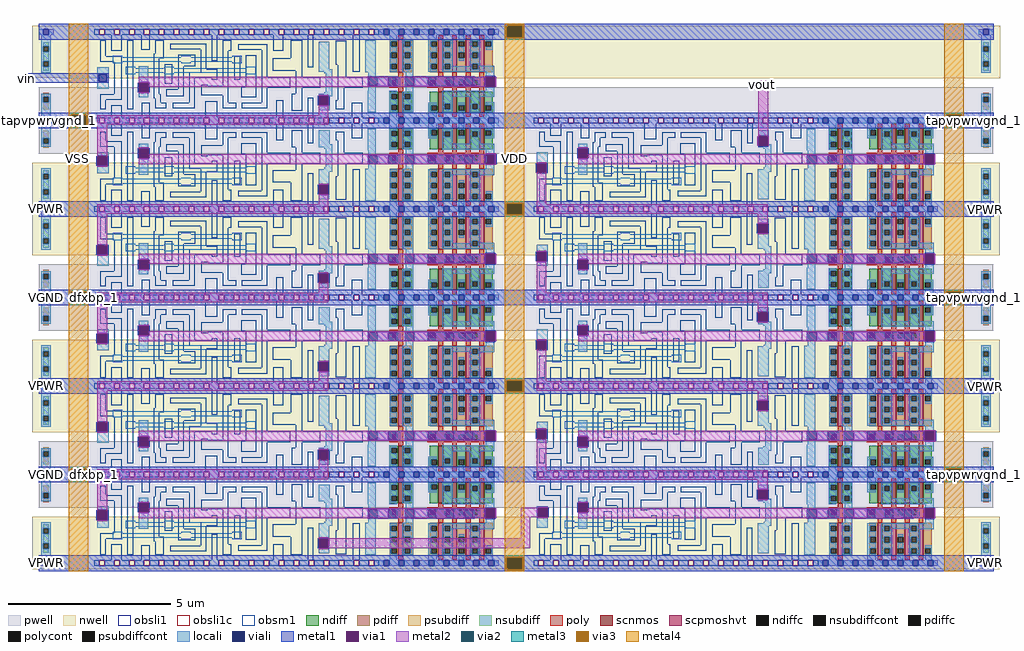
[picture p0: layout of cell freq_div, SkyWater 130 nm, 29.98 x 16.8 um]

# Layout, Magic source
magic
tech sky130A
magscale 1 2
<< nwell >>
rect -2454 122 3321 444
rect -2622 -634 3320 -398
rect -2622 -730 -2260 -634
rect -2242 -730 3320 -634
rect -2622 -966 3320 -730
rect -2622 -2054 3320 -1486
rect -2622 -2896 3320 -2574
<< pwell >>
rect -2582 -342 3280 66
rect -2582 -1430 3280 -1022
rect -2582 -2518 3280 -2110
<< locali >>
rect -2584 -155 -2555 -121
rect -2521 -155 -2492 -121
rect 3190 -155 3219 -121
rect 3253 -155 3282 -121
rect -2567 -198 -2509 -155
rect 3207 -198 3265 -155
rect -2567 -665 -2509 -622
rect 3207 -665 3265 -622
rect -2584 -699 -2555 -665
rect -2521 -699 -2492 -665
rect 3190 -699 3219 -665
rect 3253 -699 3282 -665
rect -2567 -742 -2509 -699
rect 3207 -742 3265 -699
rect -2567 -1209 -2509 -1166
rect 3207 -1209 3265 -1166
rect -2584 -1243 -2555 -1209
rect -2521 -1243 -2492 -1209
rect 3190 -1243 3219 -1209
rect 3253 -1243 3282 -1209
rect -2567 -1286 -2509 -1243
rect 3207 -1286 3265 -1243
rect -2567 -1753 -2509 -1710
rect 3207 -1753 3265 -1710
rect -2584 -1787 -2555 -1753
rect -2521 -1787 -2492 -1753
rect 3190 -1787 3219 -1753
rect 3253 -1787 3282 -1753
rect -2567 -1830 -2509 -1787
rect 3207 -1830 3265 -1787
rect -2567 -2297 -2509 -2254
rect 3207 -2297 3265 -2254
rect -2584 -2331 -2555 -2297
rect -2521 -2331 -2492 -2297
rect 3190 -2331 3219 -2297
rect 3253 -2331 3282 -2297
rect -2567 -2374 -2509 -2331
rect 3207 -2374 3265 -2331
rect -2567 -2841 -2509 -2798
rect 3207 -2841 3265 -2798
rect -2584 -2875 -2555 -2841
rect -2521 -2875 -2492 -2841
rect 3190 -2875 3219 -2841
rect 3253 -2875 3282 -2841
<< viali >>
rect -2214 98 -2166 146
rect -1962 40 -1914 88
rect -552 78 -504 126
rect -436 78 -388 126
rect -324 78 -276 126
rect -192 78 -144 126
rect -82 78 -34 126
rect 34 78 82 126
rect 166 76 214 124
rect -858 -40 -810 8
rect -2555 -155 -2521 -121
rect 3219 -155 3253 -121
rect 1842 -288 1890 -240
rect -1962 -364 -1914 -316
rect -2218 -412 -2170 -364
rect -552 -402 -504 -354
rect -436 -402 -388 -354
rect -324 -402 -276 -354
rect -192 -402 -144 -354
rect -82 -402 -34 -354
rect 34 -402 82 -354
rect 170 -400 218 -352
rect 736 -364 784 -316
rect 2146 -402 2194 -354
rect 2262 -402 2310 -354
rect 2374 -402 2422 -354
rect 2506 -402 2554 -354
rect 2616 -402 2664 -354
rect 2732 -402 2780 -354
rect 2864 -400 2912 -352
rect 480 -454 528 -406
rect -858 -586 -810 -538
rect -2555 -699 -2521 -665
rect 3219 -699 3253 -665
rect 1840 -826 1888 -778
rect -2218 -958 -2170 -910
rect -1962 -1048 -1914 -1000
rect -552 -1010 -504 -962
rect -436 -1010 -388 -962
rect -324 -1010 -276 -962
rect -192 -1010 -144 -962
rect -82 -1010 -34 -962
rect 34 -1010 82 -962
rect 166 -1012 218 -964
rect 480 -998 528 -950
rect 736 -1048 784 -1000
rect 2146 -1010 2194 -962
rect 2262 -1010 2310 -962
rect 2374 -1010 2422 -962
rect 2506 -1010 2554 -962
rect 2616 -1010 2664 -962
rect 2732 -1010 2780 -962
rect 2864 -1012 2912 -964
rect -858 -1130 -810 -1082
rect -2555 -1243 -2521 -1209
rect 3219 -1243 3253 -1209
rect 1840 -1370 1888 -1322
rect -1962 -1452 -1914 -1404
rect -2218 -1502 -2170 -1454
rect -552 -1490 -504 -1442
rect -436 -1490 -388 -1442
rect -324 -1490 -276 -1442
rect -192 -1490 -144 -1442
rect -82 -1490 -34 -1442
rect 34 -1490 82 -1442
rect 166 -1488 214 -1440
rect 736 -1452 784 -1404
rect 2146 -1490 2194 -1442
rect 2262 -1490 2310 -1442
rect 2374 -1490 2422 -1442
rect 2506 -1490 2554 -1442
rect 2616 -1490 2664 -1442
rect 2732 -1490 2780 -1442
rect 2864 -1488 2916 -1440
rect 480 -1542 528 -1494
rect -858 -1674 -810 -1626
rect -2555 -1787 -2521 -1753
rect 3219 -1787 3253 -1753
rect 1840 -1914 1888 -1866
rect -2218 -2046 -2170 -1998
rect -1962 -2136 -1914 -2088
rect -552 -2098 -504 -2050
rect -436 -2098 -388 -2050
rect -324 -2098 -276 -2050
rect -192 -2098 -144 -2050
rect -82 -2098 -34 -2050
rect 34 -2098 82 -2050
rect 166 -2100 214 -2052
rect 480 -2088 528 -2040
rect 736 -2136 784 -2088
rect 2146 -2098 2194 -2050
rect 2262 -2098 2310 -2050
rect 2374 -2098 2422 -2050
rect 2506 -2098 2554 -2050
rect 2616 -2098 2664 -2050
rect 2732 -2098 2780 -2050
rect 2868 -2100 2916 -2052
rect -858 -2216 -810 -2168
rect -2555 -2331 -2521 -2297
rect 3219 -2331 3253 -2297
rect 1840 -2460 1888 -2412
rect -1962 -2540 -1914 -2492
rect -2218 -2588 -2170 -2540
rect -552 -2578 -504 -2530
rect -436 -2578 -388 -2530
rect -324 -2578 -276 -2530
rect -192 -2578 -144 -2530
rect -82 -2578 -34 -2530
rect 34 -2578 82 -2530
rect 166 -2576 218 -2528
rect 488 -2570 536 -2522
rect 736 -2540 784 -2492
rect 2146 -2578 2194 -2530
rect 2262 -2578 2310 -2530
rect 2374 -2578 2422 -2530
rect 2506 -2578 2554 -2530
rect 2616 -2578 2664 -2530
rect 2732 -2578 2780 -2530
rect 2864 -2576 2912 -2528
rect -858 -2760 -810 -2712
rect -2555 -2875 -2521 -2841
rect 3219 -2875 3253 -2841
<< metal1 >>
rect -2492 358 -2242 454
rect 242 442 3190 454
rect 242 370 292 442
rect 388 370 3190 442
rect 242 358 3190 370
rect -2674 146 -2154 152
rect -2674 98 -2214 146
rect -2166 98 -2154 146
rect -564 126 -376 132
rect -2674 92 -2154 98
rect -1968 94 -1908 100
rect -1974 34 -1968 94
rect -1908 34 -1902 94
rect -564 78 -552 126
rect -504 78 -436 126
rect -388 78 -376 126
rect -564 72 -376 78
rect -336 126 94 132
rect 160 130 220 136
rect -336 78 -324 126
rect -276 78 -192 126
rect -144 78 -82 126
rect -34 78 34 126
rect 82 78 94 126
rect -336 72 94 78
rect 154 70 160 130
rect 220 70 226 130
rect 160 64 220 70
rect -1968 28 -1908 34
rect -864 14 -804 20
rect -870 -46 -864 14
rect -804 -46 -798 14
rect -864 -52 -804 -46
rect -2584 -102 -2242 -90
rect -2584 -121 -2388 -102
rect -2584 -155 -2555 -121
rect -2521 -155 -2388 -121
rect -2584 -174 -2388 -155
rect -2292 -174 -2242 -102
rect -2584 -186 -2242 -174
rect 242 -186 456 -90
rect 2938 -102 3282 -90
rect 2938 -174 2990 -102
rect 3086 -121 3282 -102
rect 3086 -155 3219 -121
rect 3253 -155 3282 -121
rect 3086 -174 3282 -155
rect 2938 -186 3282 -174
rect 1836 -234 1896 -228
rect 1830 -294 1836 -234
rect 1896 -294 1902 -234
rect 1836 -300 1896 -294
rect -1968 -310 -1908 -304
rect 730 -310 790 -304
rect -2224 -358 -2164 -352
rect -2230 -418 -2224 -358
rect -2164 -418 -2158 -358
rect -1974 -370 -1968 -310
rect -1908 -370 -1902 -310
rect -564 -354 -376 -348
rect -1968 -376 -1908 -370
rect -564 -402 -552 -354
rect -504 -402 -436 -354
rect -388 -402 -376 -354
rect -564 -408 -376 -402
rect -336 -354 94 -348
rect -336 -402 -324 -354
rect -276 -402 -192 -354
rect -144 -402 -82 -354
rect -34 -402 34 -354
rect 82 -402 94 -354
rect -336 -408 94 -402
rect 152 -406 158 -346
rect 218 -406 230 -346
rect 724 -370 730 -310
rect 790 -370 796 -310
rect 2858 -346 2918 -340
rect 2134 -354 2322 -348
rect 730 -376 790 -370
rect 474 -400 534 -394
rect -2224 -424 -2164 -418
rect 468 -460 474 -400
rect 534 -460 540 -400
rect 2134 -402 2146 -354
rect 2194 -402 2262 -354
rect 2310 -402 2322 -354
rect 2134 -408 2322 -402
rect 2362 -354 2792 -348
rect 2362 -402 2374 -354
rect 2422 -402 2506 -354
rect 2554 -402 2616 -354
rect 2664 -402 2732 -354
rect 2780 -402 2792 -354
rect 2362 -408 2792 -402
rect 2852 -406 2858 -346
rect 2918 -406 2924 -346
rect 2858 -412 2918 -406
rect 474 -466 534 -460
rect -864 -532 -804 -526
rect -870 -592 -864 -532
rect -804 -592 -798 -532
rect -864 -598 -804 -592
rect -2584 -665 -2242 -634
rect -2584 -699 -2555 -665
rect -2521 -699 -2242 -665
rect -2584 -730 -2242 -699
rect 242 -646 456 -634
rect 242 -718 292 -646
rect 388 -718 456 -646
rect 242 -730 456 -718
rect 2936 -665 3282 -634
rect 2936 -699 3219 -665
rect 3253 -699 3282 -665
rect 2936 -730 3282 -699
rect 1834 -772 1894 -766
rect 1828 -832 1834 -772
rect 1894 -832 1900 -772
rect 1834 -838 1894 -832
rect -2224 -904 -2164 -898
rect -2230 -964 -2224 -904
rect -2164 -964 -2158 -904
rect 474 -944 534 -938
rect -564 -962 -376 -956
rect -2224 -970 -2164 -964
rect -1968 -994 -1908 -988
rect -1974 -1054 -1968 -994
rect -1908 -1054 -1902 -994
rect -564 -1010 -552 -962
rect -504 -1010 -436 -962
rect -388 -1010 -376 -962
rect -564 -1016 -376 -1010
rect -336 -962 94 -956
rect 160 -958 220 -952
rect -336 -1010 -324 -962
rect -276 -1010 -192 -962
rect -144 -1010 -82 -962
rect -34 -1010 34 -962
rect 82 -1010 94 -962
rect -336 -1016 94 -1010
rect 154 -1018 160 -958
rect 220 -1018 226 -958
rect 468 -1004 474 -944
rect 534 -1004 540 -944
rect 2134 -962 2322 -956
rect 730 -994 790 -988
rect 474 -1010 534 -1004
rect 160 -1024 220 -1018
rect 724 -1054 730 -994
rect 790 -1054 796 -994
rect 2134 -1010 2146 -962
rect 2194 -1010 2262 -962
rect 2310 -1010 2322 -962
rect 2134 -1016 2322 -1010
rect 2362 -962 2792 -956
rect 2858 -958 2918 -952
rect 2362 -1010 2374 -962
rect 2422 -1010 2506 -962
rect 2554 -1010 2616 -962
rect 2664 -1010 2732 -962
rect 2780 -1010 2792 -962
rect 2362 -1016 2792 -1010
rect 2852 -1018 2858 -958
rect 2918 -1018 2924 -958
rect 2858 -1024 2918 -1018
rect -1968 -1060 -1908 -1054
rect 730 -1060 790 -1054
rect -864 -1076 -804 -1070
rect -870 -1136 -864 -1076
rect -804 -1136 -798 -1076
rect -864 -1142 -804 -1136
rect -2584 -1190 -2224 -1178
rect -2584 -1209 -2388 -1190
rect -2584 -1243 -2555 -1209
rect -2521 -1243 -2388 -1209
rect -2584 -1262 -2388 -1243
rect -2292 -1262 -2224 -1190
rect -2584 -1274 -2224 -1262
rect 242 -1274 456 -1178
rect 2938 -1190 3282 -1178
rect 2938 -1262 2990 -1190
rect 3086 -1209 3282 -1190
rect 3086 -1243 3219 -1209
rect 3253 -1243 3282 -1209
rect 3086 -1262 3282 -1243
rect 2938 -1274 3282 -1262
rect 1834 -1316 1894 -1310
rect 1828 -1376 1834 -1316
rect 1894 -1376 1900 -1316
rect 1834 -1382 1894 -1376
rect -1968 -1398 -1908 -1392
rect 730 -1398 790 -1392
rect -2224 -1448 -2164 -1442
rect -2230 -1508 -2224 -1448
rect -2164 -1508 -2158 -1448
rect -1974 -1458 -1968 -1398
rect -1908 -1458 -1902 -1398
rect 160 -1434 220 -1428
rect -564 -1442 -376 -1436
rect -1968 -1464 -1908 -1458
rect -564 -1490 -552 -1442
rect -504 -1490 -436 -1442
rect -388 -1490 -376 -1442
rect -564 -1496 -376 -1490
rect -336 -1442 94 -1436
rect -336 -1490 -324 -1442
rect -276 -1490 -192 -1442
rect -144 -1490 -82 -1442
rect -34 -1490 34 -1442
rect 82 -1490 94 -1442
rect -336 -1496 94 -1490
rect 154 -1494 160 -1434
rect 220 -1494 226 -1434
rect 724 -1458 730 -1398
rect 790 -1458 796 -1398
rect 2858 -1434 2918 -1428
rect 2134 -1442 2322 -1436
rect 730 -1464 790 -1458
rect 474 -1488 534 -1482
rect 160 -1500 220 -1494
rect -2224 -1514 -2164 -1508
rect 468 -1548 474 -1488
rect 534 -1548 540 -1488
rect 2134 -1490 2146 -1442
rect 2194 -1490 2262 -1442
rect 2310 -1490 2322 -1442
rect 2134 -1496 2322 -1490
rect 2362 -1442 2792 -1436
rect 2362 -1490 2374 -1442
rect 2422 -1490 2506 -1442
rect 2554 -1490 2616 -1442
rect 2664 -1490 2732 -1442
rect 2780 -1490 2792 -1442
rect 2362 -1496 2792 -1490
rect 2852 -1494 2858 -1434
rect 2918 -1494 2924 -1434
rect 2858 -1500 2918 -1494
rect 474 -1554 534 -1548
rect -864 -1620 -804 -1614
rect -870 -1680 -864 -1620
rect -804 -1680 -798 -1620
rect -864 -1686 -804 -1680
rect -2584 -1753 -2242 -1722
rect -2584 -1787 -2555 -1753
rect -2521 -1787 -2242 -1753
rect -2584 -1818 -2242 -1787
rect 242 -1734 456 -1722
rect 242 -1806 292 -1734
rect 388 -1806 456 -1734
rect 242 -1818 456 -1806
rect 2936 -1753 3282 -1722
rect 2936 -1787 3219 -1753
rect 3253 -1787 3282 -1753
rect 2936 -1818 3282 -1787
rect 1834 -1860 1894 -1854
rect 1828 -1920 1834 -1860
rect 1894 -1920 1900 -1860
rect 1834 -1926 1894 -1920
rect -2224 -1992 -2164 -1986
rect -2230 -2052 -2224 -1992
rect -2164 -2052 -2158 -1992
rect 474 -2034 534 -2028
rect -564 -2050 -376 -2044
rect -2224 -2058 -2164 -2052
rect -1968 -2082 -1908 -2076
rect -1974 -2142 -1968 -2082
rect -1908 -2142 -1902 -2082
rect -564 -2098 -552 -2050
rect -504 -2098 -436 -2050
rect -388 -2098 -376 -2050
rect -564 -2104 -376 -2098
rect -336 -2050 94 -2044
rect 160 -2046 220 -2040
rect -336 -2098 -324 -2050
rect -276 -2098 -192 -2050
rect -144 -2098 -82 -2050
rect -34 -2098 34 -2050
rect 82 -2098 94 -2050
rect -336 -2104 94 -2098
rect 154 -2106 160 -2046
rect 220 -2106 226 -2046
rect 468 -2094 474 -2034
rect 534 -2094 540 -2034
rect 2134 -2050 2322 -2044
rect 730 -2082 790 -2076
rect 474 -2100 534 -2094
rect 160 -2112 220 -2106
rect 724 -2142 730 -2082
rect 790 -2142 796 -2082
rect 2134 -2098 2146 -2050
rect 2194 -2098 2262 -2050
rect 2310 -2098 2322 -2050
rect 2134 -2104 2322 -2098
rect 2362 -2050 2792 -2044
rect 2362 -2098 2374 -2050
rect 2422 -2098 2506 -2050
rect 2554 -2098 2616 -2050
rect 2664 -2098 2732 -2050
rect 2780 -2098 2792 -2050
rect 2362 -2104 2792 -2098
rect 2850 -2106 2856 -2046
rect 2916 -2106 2928 -2046
rect -1968 -2148 -1908 -2142
rect 730 -2148 790 -2142
rect -864 -2162 -804 -2156
rect -870 -2222 -864 -2162
rect -804 -2222 -798 -2162
rect -864 -2228 -804 -2222
rect -2584 -2278 -2224 -2266
rect -2584 -2297 -2388 -2278
rect -2584 -2331 -2555 -2297
rect -2521 -2331 -2388 -2297
rect -2584 -2350 -2388 -2331
rect -2292 -2350 -2224 -2278
rect -2584 -2362 -2224 -2350
rect 242 -2362 456 -2266
rect 2936 -2278 3282 -2266
rect 2936 -2350 2990 -2278
rect 3086 -2297 3282 -2278
rect 3086 -2331 3219 -2297
rect 3253 -2331 3282 -2297
rect 3086 -2350 3282 -2331
rect 2936 -2362 3282 -2350
rect 1834 -2406 1894 -2400
rect 1828 -2466 1834 -2406
rect 1894 -2466 1900 -2406
rect 1834 -2472 1894 -2466
rect -1968 -2486 -1908 -2480
rect 730 -2486 790 -2480
rect -2224 -2534 -2164 -2528
rect -2230 -2594 -2224 -2534
rect -2164 -2594 -2158 -2534
rect -1974 -2546 -1968 -2486
rect -1908 -2546 -1902 -2486
rect 482 -2516 542 -2510
rect 160 -2522 220 -2516
rect -564 -2530 -376 -2524
rect -1968 -2552 -1908 -2546
rect -564 -2578 -552 -2530
rect -504 -2578 -436 -2530
rect -388 -2578 -376 -2530
rect -564 -2584 -376 -2578
rect -336 -2530 94 -2524
rect -336 -2578 -324 -2530
rect -276 -2578 -192 -2530
rect -144 -2578 -82 -2530
rect -34 -2578 34 -2530
rect 82 -2578 94 -2530
rect -336 -2584 94 -2578
rect 154 -2582 160 -2522
rect 220 -2582 226 -2522
rect 476 -2576 482 -2516
rect 542 -2576 548 -2516
rect 724 -2546 730 -2486
rect 790 -2546 796 -2486
rect 2858 -2522 2918 -2516
rect 2134 -2530 2322 -2524
rect 730 -2552 790 -2546
rect 482 -2582 542 -2576
rect 2134 -2578 2146 -2530
rect 2194 -2578 2262 -2530
rect 2310 -2578 2322 -2530
rect 160 -2588 220 -2582
rect 2134 -2584 2322 -2578
rect 2362 -2530 2792 -2524
rect 2362 -2578 2374 -2530
rect 2422 -2578 2506 -2530
rect 2554 -2578 2616 -2530
rect 2664 -2578 2732 -2530
rect 2780 -2578 2792 -2530
rect 2362 -2584 2792 -2578
rect 2852 -2582 2858 -2522
rect 2918 -2582 2924 -2522
rect 2858 -2588 2918 -2582
rect -2224 -2600 -2164 -2594
rect -864 -2706 -804 -2700
rect -870 -2766 -864 -2706
rect -804 -2766 -798 -2706
rect -864 -2772 -804 -2766
rect -2584 -2841 -2242 -2810
rect -2584 -2875 -2555 -2841
rect -2521 -2875 -2242 -2841
rect -2584 -2906 -2242 -2875
rect 242 -2822 456 -2810
rect 242 -2894 292 -2822
rect 388 -2894 456 -2822
rect 242 -2906 456 -2894
rect 2936 -2841 3282 -2810
rect 2936 -2875 3219 -2841
rect 3253 -2875 3282 -2841
rect 2936 -2906 3282 -2875
<< via1 >>
rect 292 370 388 442
rect -1968 88 -1908 94
rect -1968 40 -1962 88
rect -1962 40 -1914 88
rect -1914 40 -1908 88
rect -1968 34 -1908 40
rect 160 124 220 130
rect 160 76 166 124
rect 166 76 214 124
rect 214 76 220 124
rect 160 70 220 76
rect -864 8 -804 14
rect -864 -40 -858 8
rect -858 -40 -810 8
rect -810 -40 -804 8
rect -864 -46 -804 -40
rect -2388 -174 -2292 -102
rect 2990 -174 3086 -102
rect 1836 -240 1896 -234
rect 1836 -288 1842 -240
rect 1842 -288 1890 -240
rect 1890 -288 1896 -240
rect 1836 -294 1896 -288
rect -2224 -364 -2164 -358
rect -2224 -412 -2218 -364
rect -2218 -412 -2170 -364
rect -2170 -412 -2164 -364
rect -2224 -418 -2164 -412
rect -1968 -316 -1908 -310
rect -1968 -364 -1962 -316
rect -1962 -364 -1914 -316
rect -1914 -364 -1908 -316
rect -1968 -370 -1908 -364
rect 158 -352 218 -346
rect 158 -400 170 -352
rect 170 -400 218 -352
rect 158 -406 218 -400
rect 730 -316 790 -310
rect 730 -364 736 -316
rect 736 -364 784 -316
rect 784 -364 790 -316
rect 730 -370 790 -364
rect 474 -406 534 -400
rect 474 -454 480 -406
rect 480 -454 528 -406
rect 528 -454 534 -406
rect 474 -460 534 -454
rect 2858 -352 2918 -346
rect 2858 -400 2864 -352
rect 2864 -400 2912 -352
rect 2912 -400 2918 -352
rect 2858 -406 2918 -400
rect -864 -538 -804 -532
rect -864 -586 -858 -538
rect -858 -586 -810 -538
rect -810 -586 -804 -538
rect -864 -592 -804 -586
rect 292 -718 388 -646
rect 1834 -778 1894 -772
rect 1834 -826 1840 -778
rect 1840 -826 1888 -778
rect 1888 -826 1894 -778
rect 1834 -832 1894 -826
rect -2224 -910 -2164 -904
rect -2224 -958 -2218 -910
rect -2218 -958 -2170 -910
rect -2170 -958 -2164 -910
rect -2224 -964 -2164 -958
rect -1968 -1000 -1908 -994
rect -1968 -1048 -1962 -1000
rect -1962 -1048 -1914 -1000
rect -1914 -1048 -1908 -1000
rect -1968 -1054 -1908 -1048
rect 160 -964 220 -958
rect 160 -1012 166 -964
rect 166 -1012 218 -964
rect 218 -1012 220 -964
rect 160 -1018 220 -1012
rect 474 -950 534 -944
rect 474 -998 480 -950
rect 480 -998 528 -950
rect 528 -998 534 -950
rect 474 -1004 534 -998
rect 730 -1000 790 -994
rect 730 -1048 736 -1000
rect 736 -1048 784 -1000
rect 784 -1048 790 -1000
rect 730 -1054 790 -1048
rect 2858 -964 2918 -958
rect 2858 -1012 2864 -964
rect 2864 -1012 2912 -964
rect 2912 -1012 2918 -964
rect 2858 -1018 2918 -1012
rect -864 -1082 -804 -1076
rect -864 -1130 -858 -1082
rect -858 -1130 -810 -1082
rect -810 -1130 -804 -1082
rect -864 -1136 -804 -1130
rect -2388 -1262 -2292 -1190
rect 2990 -1262 3086 -1190
rect 1834 -1322 1894 -1316
rect 1834 -1370 1840 -1322
rect 1840 -1370 1888 -1322
rect 1888 -1370 1894 -1322
rect 1834 -1376 1894 -1370
rect -2224 -1454 -2164 -1448
rect -2224 -1502 -2218 -1454
rect -2218 -1502 -2170 -1454
rect -2170 -1502 -2164 -1454
rect -2224 -1508 -2164 -1502
rect -1968 -1404 -1908 -1398
rect -1968 -1452 -1962 -1404
rect -1962 -1452 -1914 -1404
rect -1914 -1452 -1908 -1404
rect -1968 -1458 -1908 -1452
rect 160 -1440 220 -1434
rect 160 -1488 166 -1440
rect 166 -1488 214 -1440
rect 214 -1488 220 -1440
rect 160 -1494 220 -1488
rect 730 -1404 790 -1398
rect 730 -1452 736 -1404
rect 736 -1452 784 -1404
rect 784 -1452 790 -1404
rect 730 -1458 790 -1452
rect 474 -1494 534 -1488
rect 474 -1542 480 -1494
rect 480 -1542 528 -1494
rect 528 -1542 534 -1494
rect 474 -1548 534 -1542
rect 2858 -1440 2918 -1434
rect 2858 -1488 2864 -1440
rect 2864 -1488 2916 -1440
rect 2916 -1488 2918 -1440
rect 2858 -1494 2918 -1488
rect -864 -1626 -804 -1620
rect -864 -1674 -858 -1626
rect -858 -1674 -810 -1626
rect -810 -1674 -804 -1626
rect -864 -1680 -804 -1674
rect 292 -1806 388 -1734
rect 1834 -1866 1894 -1860
rect 1834 -1914 1840 -1866
rect 1840 -1914 1888 -1866
rect 1888 -1914 1894 -1866
rect 1834 -1920 1894 -1914
rect -2224 -1998 -2164 -1992
rect -2224 -2046 -2218 -1998
rect -2218 -2046 -2170 -1998
rect -2170 -2046 -2164 -1998
rect -2224 -2052 -2164 -2046
rect -1968 -2088 -1908 -2082
rect -1968 -2136 -1962 -2088
rect -1962 -2136 -1914 -2088
rect -1914 -2136 -1908 -2088
rect -1968 -2142 -1908 -2136
rect 160 -2052 220 -2046
rect 160 -2100 166 -2052
rect 166 -2100 214 -2052
rect 214 -2100 220 -2052
rect 160 -2106 220 -2100
rect 474 -2040 534 -2034
rect 474 -2088 480 -2040
rect 480 -2088 528 -2040
rect 528 -2088 534 -2040
rect 474 -2094 534 -2088
rect 730 -2088 790 -2082
rect 730 -2136 736 -2088
rect 736 -2136 784 -2088
rect 784 -2136 790 -2088
rect 730 -2142 790 -2136
rect 2856 -2052 2916 -2046
rect 2856 -2100 2868 -2052
rect 2868 -2100 2916 -2052
rect 2856 -2106 2916 -2100
rect -864 -2168 -804 -2162
rect -864 -2216 -858 -2168
rect -858 -2216 -810 -2168
rect -810 -2216 -804 -2168
rect -864 -2222 -804 -2216
rect -2388 -2350 -2292 -2278
rect 2990 -2350 3086 -2278
rect 1834 -2412 1894 -2406
rect 1834 -2460 1840 -2412
rect 1840 -2460 1888 -2412
rect 1888 -2460 1894 -2412
rect 1834 -2466 1894 -2460
rect -2224 -2540 -2164 -2534
rect -2224 -2588 -2218 -2540
rect -2218 -2588 -2170 -2540
rect -2170 -2588 -2164 -2540
rect -2224 -2594 -2164 -2588
rect -1968 -2492 -1908 -2486
rect -1968 -2540 -1962 -2492
rect -1962 -2540 -1914 -2492
rect -1914 -2540 -1908 -2492
rect -1968 -2546 -1908 -2540
rect 160 -2528 220 -2522
rect 160 -2576 166 -2528
rect 166 -2576 218 -2528
rect 218 -2576 220 -2528
rect 160 -2582 220 -2576
rect 482 -2522 542 -2516
rect 482 -2570 488 -2522
rect 488 -2570 536 -2522
rect 536 -2570 542 -2522
rect 482 -2576 542 -2570
rect 730 -2492 790 -2486
rect 730 -2540 736 -2492
rect 736 -2540 784 -2492
rect 784 -2540 790 -2492
rect 730 -2546 790 -2540
rect 2858 -2528 2918 -2522
rect 2858 -2576 2864 -2528
rect 2864 -2576 2912 -2528
rect 2912 -2576 2918 -2528
rect 2858 -2582 2918 -2576
rect -864 -2712 -804 -2706
rect -864 -2760 -858 -2712
rect -858 -2760 -810 -2712
rect -810 -2760 -804 -2712
rect -864 -2766 -804 -2760
rect 292 -2894 388 -2822
<< metal2 >>
rect 280 442 400 454
rect 280 370 292 442
rect 388 370 400 442
rect 280 358 400 370
rect -1968 94 160 130
rect -1908 70 160 94
rect 220 70 226 130
rect -1968 28 -1908 34
rect -864 14 -804 20
rect -2400 -102 -2280 -90
rect -2400 -174 -2388 -102
rect -2292 -174 -2280 -102
rect -864 -106 -804 -46
rect -2400 -186 -2280 -174
rect -2224 -166 -804 -106
rect -2224 -358 -2164 -166
rect 1836 -234 1896 104
rect 2978 -102 3098 -90
rect 2978 -174 2990 -102
rect 3086 -174 3098 -102
rect 2978 -186 3098 -174
rect 1830 -294 1836 -234
rect 1896 -294 1902 -234
rect -1968 -310 -1908 -304
rect 730 -310 790 -304
rect 158 -346 224 -340
rect -1908 -370 158 -346
rect -1968 -406 158 -370
rect 218 -406 224 -346
rect 790 -370 2858 -346
rect 158 -412 224 -406
rect 474 -400 534 -394
rect -2224 -424 -2164 -418
rect 730 -406 2858 -370
rect 2918 -406 2924 -346
rect -864 -532 -804 -526
rect -864 -652 -804 -592
rect -2224 -712 -804 -652
rect 280 -646 400 -634
rect -2224 -904 -2164 -712
rect 280 -718 292 -646
rect 388 -718 400 -646
rect 474 -652 534 -460
rect 474 -712 1894 -652
rect 280 -730 400 -718
rect 1834 -772 1894 -712
rect 1834 -838 1894 -832
rect 474 -944 534 -938
rect -2224 -970 -2164 -964
rect -1968 -994 160 -958
rect -1908 -1018 160 -994
rect 220 -1018 226 -958
rect -1968 -1060 -1908 -1054
rect -864 -1076 -804 -1070
rect -2400 -1190 -2280 -1178
rect -2400 -1262 -2388 -1190
rect -2292 -1262 -2280 -1190
rect -864 -1196 -804 -1136
rect -2400 -1274 -2280 -1262
rect -2224 -1256 -804 -1196
rect 474 -1196 534 -1004
rect 730 -994 2858 -958
rect 790 -1018 2858 -994
rect 2918 -1018 2924 -958
rect 730 -1060 790 -1054
rect 2978 -1190 3098 -1178
rect 474 -1256 1894 -1196
rect -2224 -1448 -2164 -1256
rect 1834 -1316 1894 -1256
rect 2978 -1262 2990 -1190
rect 3086 -1262 3098 -1190
rect 2978 -1274 3098 -1262
rect 1834 -1382 1894 -1376
rect -1968 -1398 -1908 -1392
rect 730 -1398 790 -1392
rect -1908 -1458 160 -1434
rect -1968 -1494 160 -1458
rect 220 -1494 226 -1434
rect 790 -1458 2858 -1434
rect 474 -1488 534 -1482
rect -2224 -1514 -2164 -1508
rect 730 -1494 2858 -1458
rect 2918 -1494 2924 -1434
rect -864 -1620 -804 -1614
rect -864 -1740 -804 -1680
rect -2224 -1800 -804 -1740
rect 280 -1734 400 -1722
rect -2224 -1992 -2164 -1800
rect 280 -1806 292 -1734
rect 388 -1806 400 -1734
rect 474 -1740 534 -1548
rect 474 -1800 1894 -1740
rect 280 -1818 400 -1806
rect 1834 -1860 1894 -1800
rect 1834 -1926 1894 -1920
rect 474 -2034 534 -2028
rect -2224 -2058 -2164 -2052
rect -1968 -2082 160 -2046
rect -1908 -2106 160 -2082
rect 220 -2106 226 -2046
rect 2856 -2046 2922 -2040
rect -1968 -2148 -1908 -2142
rect -864 -2162 -804 -2156
rect -2400 -2278 -2280 -2266
rect -2400 -2350 -2388 -2278
rect -2292 -2350 -2280 -2278
rect -864 -2282 -804 -2222
rect -2400 -2362 -2280 -2350
rect -2224 -2342 -804 -2282
rect 474 -2286 534 -2094
rect 730 -2082 2856 -2046
rect 790 -2106 2856 -2082
rect 2916 -2106 2922 -2046
rect 2856 -2112 2922 -2106
rect 730 -2148 790 -2142
rect 2978 -2278 3098 -2266
rect -2224 -2534 -2164 -2342
rect 474 -2346 1894 -2286
rect 1834 -2406 1894 -2346
rect 2978 -2350 2990 -2278
rect 3086 -2350 3098 -2278
rect 2978 -2362 3098 -2350
rect 1834 -2472 1894 -2466
rect -1968 -2486 -1908 -2480
rect 730 -2486 790 -2480
rect 482 -2516 542 -2510
rect -1908 -2546 160 -2522
rect -1968 -2582 160 -2546
rect 220 -2582 226 -2522
rect 376 -2576 482 -2516
rect -2224 -2600 -2164 -2594
rect -864 -2706 -804 -2700
rect 376 -2706 436 -2576
rect 482 -2582 542 -2576
rect 790 -2546 2858 -2522
rect 730 -2582 2858 -2546
rect 2918 -2582 2924 -2522
rect -804 -2766 436 -2706
rect -864 -2772 -804 -2766
rect 280 -2822 400 -2810
rect 280 -2894 292 -2822
rect 388 -2894 400 -2822
rect 280 -2906 400 -2894
<< via2 >>
rect 292 370 388 442
rect -2388 -174 -2292 -102
rect 2990 -174 3086 -102
rect 292 -718 388 -646
rect -2388 -1262 -2292 -1190
rect 2990 -1262 3086 -1190
rect 292 -1806 388 -1734
rect -2388 -2350 -2292 -2278
rect 2990 -2350 3086 -2278
rect 292 -2894 388 -2822
<< metal3 >>
rect 280 442 400 454
rect 280 370 292 442
rect 388 370 400 442
rect 280 358 400 370
rect -2400 -102 -2280 -90
rect -2400 -174 -2388 -102
rect -2292 -174 -2280 -102
rect -2400 -186 -2280 -174
rect 2978 -102 3098 -90
rect 2978 -174 2990 -102
rect 3086 -174 3098 -102
rect 2978 -186 3098 -174
rect 280 -646 400 -634
rect 280 -718 292 -646
rect 388 -718 400 -646
rect 280 -730 400 -718
rect -2400 -1190 -2280 -1178
rect -2400 -1262 -2388 -1190
rect -2292 -1262 -2280 -1190
rect -2400 -1274 -2280 -1262
rect 2978 -1190 3098 -1178
rect 2978 -1262 2990 -1190
rect 3086 -1262 3098 -1190
rect 2978 -1274 3098 -1262
rect 280 -1734 400 -1722
rect 280 -1806 292 -1734
rect 388 -1806 400 -1734
rect 280 -1818 400 -1806
rect -2400 -2278 -2280 -2266
rect -2400 -2350 -2388 -2278
rect -2292 -2350 -2280 -2278
rect -2400 -2362 -2280 -2350
rect 2978 -2278 3098 -2266
rect 2978 -2350 2990 -2278
rect 3086 -2350 3098 -2278
rect 2978 -2362 3098 -2350
rect 280 -2822 400 -2810
rect 280 -2894 292 -2822
rect 388 -2894 400 -2822
rect 280 -2906 400 -2894
<< via3 >>
rect 292 370 388 442
rect -2388 -174 -2292 -102
rect 2990 -174 3086 -102
rect 292 -718 388 -646
rect -2388 -1262 -2292 -1190
rect 2990 -1262 3086 -1190
rect 292 -1806 388 -1734
rect -2388 -2350 -2292 -2278
rect 2990 -2350 3086 -2278
rect 292 -2894 388 -2822
<< metal4 >>
rect -2400 -102 -2280 454
rect -2400 -174 -2388 -102
rect -2292 -174 -2280 -102
rect -2400 -1190 -2280 -174
rect -2400 -1262 -2388 -1190
rect -2292 -1262 -2280 -1190
rect -2400 -2278 -2280 -1262
rect -2400 -2350 -2388 -2278
rect -2292 -2350 -2280 -2278
rect -2400 -2906 -2280 -2350
rect 280 442 400 454
rect 280 370 292 442
rect 388 370 400 442
rect 280 -646 400 370
rect 280 -718 292 -646
rect 388 -718 400 -646
rect 280 -1734 400 -718
rect 280 -1806 292 -1734
rect 388 -1806 400 -1734
rect 280 -2822 400 -1806
rect 280 -2894 292 -2822
rect 388 -2894 400 -2822
rect 280 -2906 400 -2894
rect 2978 -102 3098 454
rect 2978 -174 2990 -102
rect 3086 -174 3098 -102
rect 2978 -1190 3098 -174
rect 2978 -1262 2990 -1190
rect 3086 -1262 3098 -1190
rect 2978 -2278 3098 -1262
rect 2978 -2350 2990 -2278
rect 3086 -2350 3098 -2278
rect 2978 -2906 3098 -2350
use sky130_fd_sc_hd__tapvpwrvgnd_1  sky130_fd_sc_hd__tapvpwrvgnd_1_5 $PDKPATH/libs.ref/sky130_fd_sc_hd/mag
transform 1 0 -2584 0 1 -2314
box -38 -48 130 592
use sky130_fd_sc_hd__tapvpwrvgnd_1  sky130_fd_sc_hd__tapvpwrvgnd_1_6
transform 1 0 -2584 0 -1 -2314
box -38 -48 130 592
use sky130_fd_sc_hd__dfxbp_1  sky130_fd_sc_hd__dfxbp_1_5 $PDKPATH/libs.ref/sky130_fd_sc_hd/mag
transform 1 0 -2242 0 -1 -2314
box -38 -48 1786 592
use sky130_fd_sc_hd__dfxbp_1  sky130_fd_sc_hd__dfxbp_1_4
transform 1 0 -2242 0 1 -2314
box -38 -48 1786 592
use sky130_fd_sc_hd__inv_1  sky130_fd_sc_hd__inv_1_5 $PDKPATH/libs.ref/sky130_fd_sc_hd/mag
transform 1 0 -494 0 -1 -2314
box -38 -48 314 592
use sky130_fd_sc_hd__inv_1  sky130_fd_sc_hd__inv_1_4
transform 1 0 -494 0 1 -2314
box -38 -48 314 592
use sky130_fd_sc_hd__inv_4  sky130_fd_sc_hd__inv_4_4 $PDKPATH/libs.ref/sky130_fd_sc_hd/mag
transform 1 0 -218 0 1 -2314
box -38 -48 498 592
use sky130_fd_sc_hd__inv_4  sky130_fd_sc_hd__inv_4_5
transform 1 0 -218 0 -1 -2314
box -38 -48 498 592
use sky130_fd_sc_hd__dfxbp_1  sky130_fd_sc_hd__dfxbp_1_10
transform 1 0 456 0 -1 -2314
box -38 -48 1786 592
use sky130_fd_sc_hd__dfxbp_1  sky130_fd_sc_hd__dfxbp_1_9
transform 1 0 456 0 1 -2314
box -38 -48 1786 592
use sky130_fd_sc_hd__inv_1  sky130_fd_sc_hd__inv_1_10
transform 1 0 2204 0 -1 -2314
box -38 -48 314 592
use sky130_fd_sc_hd__inv_1  sky130_fd_sc_hd__inv_1_9
transform 1 0 2204 0 1 -2314
box -38 -48 314 592
use sky130_fd_sc_hd__inv_4  sky130_fd_sc_hd__inv_4_9
transform 1 0 2480 0 1 -2314
box -38 -48 498 592
use sky130_fd_sc_hd__inv_4  sky130_fd_sc_hd__inv_4_10
transform 1 0 2480 0 -1 -2314
box -38 -48 498 592
use sky130_fd_sc_hd__tapvpwrvgnd_1  sky130_fd_sc_hd__tapvpwrvgnd_1_8
transform -1 0 3282 0 1 -2314
box -38 -48 130 592
use sky130_fd_sc_hd__tapvpwrvgnd_1  sky130_fd_sc_hd__tapvpwrvgnd_1_7
transform -1 0 3282 0 -1 -2314
box -38 -48 130 592
use sky130_fd_sc_hd__tapvpwrvgnd_1  sky130_fd_sc_hd__tapvpwrvgnd_1_4
transform 1 0 -2584 0 -1 -1226
box -38 -48 130 592
use sky130_fd_sc_hd__dfxbp_1  sky130_fd_sc_hd__dfxbp_1_2
transform 1 0 -2242 0 -1 -1226
box -38 -48 1786 592
use sky130_fd_sc_hd__inv_1  sky130_fd_sc_hd__inv_1_2
transform 1 0 -494 0 -1 -1226
box -38 -48 314 592
use sky130_fd_sc_hd__inv_4  sky130_fd_sc_hd__inv_4_2
transform 1 0 -218 0 -1 -1226
box -38 -48 498 592
use sky130_fd_sc_hd__dfxbp_1  sky130_fd_sc_hd__dfxbp_1_8
transform 1 0 456 0 -1 -1226
box -38 -48 1786 592
use sky130_fd_sc_hd__inv_1  sky130_fd_sc_hd__inv_1_8
transform 1 0 2204 0 -1 -1226
box -38 -48 314 592
use sky130_fd_sc_hd__inv_4  sky130_fd_sc_hd__inv_4_8
transform 1 0 2480 0 -1 -1226
box -38 -48 498 592
use sky130_fd_sc_hd__tapvpwrvgnd_1  sky130_fd_sc_hd__tapvpwrvgnd_1_9
transform -1 0 3282 0 -1 -1226
box -38 -48 130 592
use sky130_fd_sc_hd__tapvpwrvgnd_1  sky130_fd_sc_hd__tapvpwrvgnd_1_3
transform 1 0 -2584 0 1 -1226
box -38 -48 130 592
use sky130_fd_sc_hd__dfxbp_1  sky130_fd_sc_hd__dfxbp_1_3
transform 1 0 -2242 0 1 -1226
box -38 -48 1786 592
use sky130_fd_sc_hd__inv_1  sky130_fd_sc_hd__inv_1_3
transform 1 0 -494 0 1 -1226
box -38 -48 314 592
use sky130_fd_sc_hd__inv_4  sky130_fd_sc_hd__inv_4_3
transform 1 0 -218 0 1 -1226
box -38 -48 498 592
use sky130_fd_sc_hd__dfxbp_1  sky130_fd_sc_hd__dfxbp_1_7
transform 1 0 456 0 1 -1226
box -38 -48 1786 592
use sky130_fd_sc_hd__inv_1  sky130_fd_sc_hd__inv_1_7
transform 1 0 2204 0 1 -1226
box -38 -48 314 592
use sky130_fd_sc_hd__inv_4  sky130_fd_sc_hd__inv_4_7
transform 1 0 2480 0 1 -1226
box -38 -48 498 592
use sky130_fd_sc_hd__tapvpwrvgnd_1  sky130_fd_sc_hd__tapvpwrvgnd_1_10
transform -1 0 3282 0 1 -1226
box -38 -48 130 592
use sky130_fd_sc_hd__tapvpwrvgnd_1  sky130_fd_sc_hd__tapvpwrvgnd_1_2
transform 1 0 -2584 0 -1 -138
box -38 -48 130 592
use sky130_fd_sc_hd__dfxbp_1  sky130_fd_sc_hd__dfxbp_1_1
transform 1 0 -2242 0 -1 -138
box -38 -48 1786 592
use sky130_fd_sc_hd__inv_1  sky130_fd_sc_hd__inv_1_1
transform 1 0 -494 0 -1 -138
box -38 -48 314 592
use sky130_fd_sc_hd__inv_4  sky130_fd_sc_hd__inv_4_1
transform 1 0 -218 0 -1 -138
box -38 -48 498 592
use sky130_fd_sc_hd__dfxbp_1  sky130_fd_sc_hd__dfxbp_1_6
transform 1 0 456 0 -1 -138
box -38 -48 1786 592
use sky130_fd_sc_hd__inv_1  sky130_fd_sc_hd__inv_1_6
transform 1 0 2204 0 -1 -138
box -38 -48 314 592
use sky130_fd_sc_hd__inv_4  sky130_fd_sc_hd__inv_4_6
transform 1 0 2480 0 -1 -138
box -38 -48 498 592
use sky130_fd_sc_hd__tapvpwrvgnd_1  sky130_fd_sc_hd__tapvpwrvgnd_1_11
transform -1 0 3282 0 -1 -138
box -38 -48 130 592
use sky130_fd_sc_hd__tapvpwrvgnd_1  sky130_fd_sc_hd__tapvpwrvgnd_1_1
transform 1 0 -2584 0 1 -138
box -38 -48 130 592
use sky130_fd_sc_hd__dfxbp_1  sky130_fd_sc_hd__dfxbp_1_0
transform 1 0 -2242 0 1 -138
box -38 -48 1786 592
use sky130_fd_sc_hd__inv_1  sky130_fd_sc_hd__inv_1_0
transform 1 0 -494 0 1 -138
box -38 -48 314 592
use sky130_fd_sc_hd__inv_4  sky130_fd_sc_hd__inv_4_0
transform 1 0 -218 0 1 -138
box -38 -48 498 592
use sky130_fd_sc_hd__tapvpwrvgnd_1  sky130_fd_sc_hd__tapvpwrvgnd_1_12
transform -1 0 3282 0 1 -138
box -38 -48 130 592
<< labels >>
rlabel comment s -2242 -1226 -2242 -1226 4 dfxbp_1
rlabel comment s -2242 -2314 -2242 -2314 4 dfxbp_1
flabel metal1 s -2562 -691 -2509 -662 0 FreeSans 200 0 0 0 VPWR
port 2 nsew power bidirectional abutment
rlabel comment s -2584 -138 -2584 -138 2 tapvpwrvgnd_1
flabel metal1 s -2562 -702 -2509 -673 0 FreeSans 200 0 0 0 VPWR
port 2 nsew power bidirectional abutment
flabel metal1 s -2562 -1779 -2509 -1750 0 FreeSans 200 0 0 0 VPWR
port 2 nsew power bidirectional abutment
rlabel comment s -2584 -1226 -2584 -1226 2 tapvpwrvgnd_1
flabel metal1 s -2562 -1790 -2509 -1761 0 FreeSans 200 0 0 0 VPWR
port 2 nsew power bidirectional abutment
flabel metal1 s -2562 -2867 -2509 -2838 0 FreeSans 200 0 0 0 VPWR
port 2 nsew power bidirectional abutment
rlabel comment s -2584 -2314 -2584 -2314 2 tapvpwrvgnd_1
rlabel comment s 3282 -2314 3282 -2314 8 tapvpwrvgnd_1
flabel metal1 s 3207 -2867 3260 -2838 0 FreeSans 200 180 0 0 VPWR
port 2 nsew power bidirectional abutment
flabel metal1 s 3207 -1790 3260 -1761 0 FreeSans 200 180 0 0 VPWR
port 2 nsew power bidirectional abutment
rlabel comment s 3282 -1226 3282 -1226 8 tapvpwrvgnd_1
flabel metal1 s 3207 -1779 3260 -1750 0 FreeSans 200 180 0 0 VPWR
port 2 nsew power bidirectional abutment
flabel metal1 s 3207 -702 3260 -673 0 FreeSans 200 180 0 0 VPWR
port 2 nsew power bidirectional abutment
rlabel comment s 3282 -138 3282 -138 8 tapvpwrvgnd_1
flabel metal1 s 3207 -691 3260 -662 0 FreeSans 200 180 0 0 VPWR
port 2 nsew power bidirectional abutment
flabel metal1 -2660 116 -2654 122 1 FreeSans 480 0 0 0 vin
flabel metal1 s 3210 -1244 3261 -1206 0 FreeSans 200 180 0 0 VGND
port 1 nsew ground bidirectional abutment
flabel metal1 s 3210 -1246 3261 -1208 0 FreeSans 200 180 0 0 VGND
port 1 nsew ground bidirectional abutment
flabel metal1 s 3210 -2332 3261 -2294 0 FreeSans 200 180 0 0 VGND
port 1 nsew ground bidirectional abutment
flabel metal1 s 3210 -2334 3261 -2296 0 FreeSans 200 180 0 0 VGND
port 1 nsew ground bidirectional abutment
flabel metal1 s -2563 -2334 -2512 -2296 0 FreeSans 200 0 0 0 VGND
port 1 nsew ground bidirectional abutment
flabel metal1 s -2563 -2332 -2512 -2294 0 FreeSans 200 0 0 0 VGND
port 1 nsew ground bidirectional abutment
flabel metal1 s -2563 -1246 -2512 -1208 0 FreeSans 200 0 0 0 VGND
port 1 nsew ground bidirectional abutment
flabel metal1 s -2563 -1244 -2512 -1206 0 FreeSans 200 0 0 0 VGND
port 1 nsew ground bidirectional abutment
flabel metal1 s -2563 -158 -2512 -120 0 FreeSans 200 0 0 0 VGND
port 1 nsew ground bidirectional abutment
flabel metal1 s 3210 -158 3261 -120 0 FreeSans 200 180 0 0 VGND
port 1 nsew ground bidirectional abutment
flabel metal4 -2348 -374 -2344 -370 1 FreeSans 480 0 0 0 VSS
flabel metal4 332 -378 342 -370 1 FreeSans 480 0 0 0 VDD
flabel metal2 1856 80 1866 88 1 FreeSans 480 0 0 0 vout
<< end >>

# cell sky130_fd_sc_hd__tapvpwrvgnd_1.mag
magic
tech sky130A
magscale 1 2
<< nwell >>
rect -38 261 130 582
<< pwell >>
rect 3 38 89 195
<< psubdiff >>
rect 29 145 63 169
rect 29 64 63 111
<< nsubdiff >>
rect 29 456 63 480
rect 29 363 63 422
rect 29 305 63 329
<< psubdiffcont >>
rect 29 111 63 145
<< nsubdiffcont >>
rect 29 422 63 456
rect 29 329 63 363
<< locali >>
rect 0 527 29 561
rect 63 527 92 561
rect 17 456 75 527
rect 17 422 29 456
rect 63 422 75 456
rect 17 363 75 422
rect 17 329 29 363
rect 63 329 75 363
rect 17 294 75 329
rect 17 145 75 162
rect 17 111 29 145
rect 63 111 75 145
rect 17 17 75 111
rect 0 -17 29 17
rect 63 -17 92 17
<< viali >>
rect 29 527 63 561
rect 29 -17 63 17
<< metal1 >>
rect 0 561 92 592
rect 0 527 29 561
rect 63 527 92 561
rect 0 496 92 527
rect 0 17 92 48
rect 0 -17 29 17
rect 63 -17 92 17
rect 0 -48 92 -17
<< labels >>
flabel metal1 s 22 524 75 553 0 FreeSans 200 0 0 0 VPWR
port 2 nsew power bidirectional abutment
flabel metal1 s 21 -18 72 20 0 FreeSans 200 0 0 0 VGND
port 1 nsew ground bidirectional abutment
rlabel comment s 0 0 0 0 4 tapvpwrvgnd_1
<< properties >>
string LEFsite unithd
string LEFclass CORE WELLTAP
string FIXED_BBOX 0 0 92 544
string GDS_FILE $PDKPATH/libs.ref/sky130_fd_sc_hd/gds/sky130_fd_sc_hd.gds
string LEFsymmetry X Y R90
string GDS_END 65542
string GDS_START 63922
string MASKHINTS_PSDM 0 38 92 196
string MASKHINTS_NSDM 0 280 92 506
<< end >>

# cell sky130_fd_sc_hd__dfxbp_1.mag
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
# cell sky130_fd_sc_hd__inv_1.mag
magic
tech sky130A
magscale 1 2
<< nwell >>
rect -38 261 314 582
<< pwell >>
rect 42 21 228 203
rect 42 17 63 21
rect 29 -17 63 17
<< scnmos >>
rect 120 47 150 177
<< scpmoshvt >>
rect 120 297 150 497
<< ndiff >>
rect 68 165 120 177
rect 68 131 76 165
rect 110 131 120 165
rect 68 97 120 131
rect 68 63 76 97
rect 110 63 120 97
rect 68 47 120 63
rect 150 165 202 177
rect 150 131 160 165
rect 194 131 202 165
rect 150 97 202 131
rect 150 63 160 97
rect 194 63 202 97
rect 150 47 202 63
<< pdiff >>
rect 68 485 120 497
rect 68 451 76 485
rect 110 451 120 485
rect 68 417 120 451
rect 68 383 76 417
rect 110 383 120 417
rect 68 349 120 383
rect 68 315 76 349
rect 110 315 120 349
rect 68 297 120 315
rect 150 485 202 497
rect 150 451 160 485
rect 194 451 202 485
rect 150 417 202 451
rect 150 383 160 417
rect 194 383 202 417
rect 150 349 202 383
rect 150 315 160 349
rect 194 315 202 349
rect 150 297 202 315
<< ndiffc >>
rect 76 131 110 165
rect 76 63 110 97
rect 160 131 194 165
rect 160 63 194 97
<< pdiffc >>
rect 76 451 110 485
rect 76 383 110 417
rect 76 315 110 349
rect 160 451 194 485
rect 160 383 194 417
rect 160 315 194 349
<< poly >>
rect 120 497 150 523
rect 120 265 150 297
rect 64 249 150 265
rect 64 215 80 249
rect 114 215 150 249
rect 64 199 150 215
rect 120 177 150 199
rect 120 21 150 47
<< polycont >>
rect 80 215 114 249
<< locali >>
rect 0 527 29 561
rect 63 527 121 561
rect 155 527 213 561
rect 247 527 276 561
rect 68 485 110 527
rect 68 451 76 485
rect 68 417 110 451
rect 68 383 76 417
rect 68 349 110 383
rect 68 315 76 349
rect 68 299 110 315
rect 144 485 210 493
rect 144 451 160 485
rect 194 451 210 485
rect 144 417 210 451
rect 144 383 160 417
rect 194 383 210 417
rect 144 349 210 383
rect 144 315 160 349
rect 194 315 210 349
rect 144 297 210 315
rect 64 249 130 263
rect 64 215 80 249
rect 114 215 130 249
rect 64 165 110 181
rect 164 177 210 297
rect 64 131 76 165
rect 64 97 110 131
rect 64 63 76 97
rect 64 17 110 63
rect 144 165 210 177
rect 144 131 160 165
rect 194 131 210 165
rect 144 97 210 131
rect 144 63 160 97
rect 194 63 210 97
rect 144 51 210 63
rect 0 -17 29 17
rect 63 -17 121 17
rect 155 -17 213 17
rect 247 -17 276 17
<< viali >>
rect 29 527 63 561
rect 121 527 155 561
rect 213 527 247 561
rect 29 -17 63 17
rect 121 -17 155 17
rect 213 -17 247 17
<< metal1 >>
rect 0 561 276 592
rect 0 527 29 561
rect 63 527 121 561
rect 155 527 213 561
rect 247 527 276 561
rect 0 496 276 527
rect 0 17 276 48
rect 0 -17 29 17
rect 63 -17 121 17
rect 155 -17 213 17
rect 247 -17 276 17
rect 0 -48 276 -17
<< labels >>
flabel locali s 164 289 198 323 0 FreeSans 340 0 0 0 Y
port 6 nsew signal output
flabel locali s 164 221 198 255 0 FreeSans 340 0 0 0 Y
port 6 nsew signal output
flabel locali s 72 221 106 255 0 FreeSans 340 0 0 0 A
port 1 nsew signal input
flabel nwell s 29 527 63 561 0 FreeSans 200 0 0 0 VPB
port 4 nsew power bidirectional
flabel pwell s 29 -17 63 17 0 FreeSans 200 0 0 0 VNB
port 3 nsew ground bidirectional
flabel metal1 s 29 -17 63 17 0 FreeSans 200 0 0 0 VGND
port 2 nsew ground bidirectional abutment
flabel metal1 s 29 527 63 561 0 FreeSans 200 0 0 0 VPWR
port 5 nsew power bidirectional abutment
rlabel comment s 0 0 0 0 4 inv_1
<< properties >>
string LEFclass CORE
string LEFsite unithd
string FIXED_BBOX 0 0 276 544
string GDS_FILE $PDKPATH/libs.ref/sky130_fd_sc_hd/gds/sky130_fd_sc_hd.gds
string GDS_START 23678
string GDS_END 27172
string LEFsymmetry X Y R90
string path 0.000 0.000 1.380 0.000 
<< end >>

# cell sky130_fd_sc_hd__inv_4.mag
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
